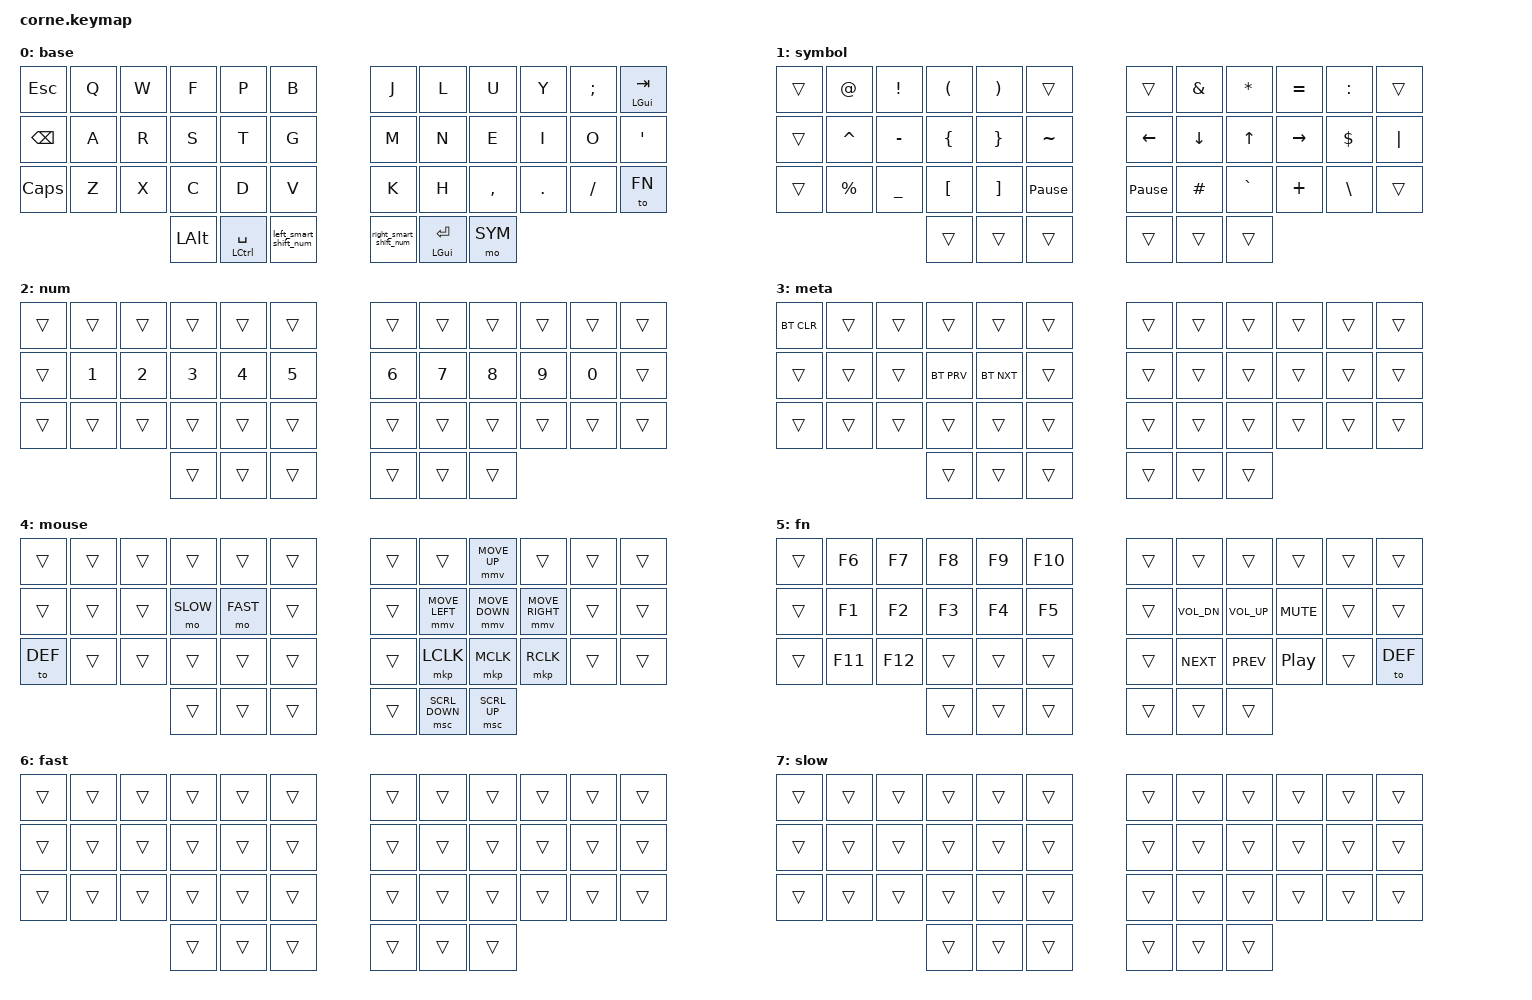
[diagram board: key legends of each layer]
/*
 * Copyright (c) 2020 The ZMK Contributors
 *
 * SPDX-License-Identifier: MIT
 */

#define DEF 0
#define NUM 2
#define SYM 1
#define META 3
#define MOUSE 4
#define FN 5
#define FAST 6
#define SLOW 7

#include "zmk-helpers/key-labels/42.h"
#include <behaviors.dtsi>
#include <dt-bindings/zmk/bt.h>
#include <dt-bindings/zmk/keys.h>
#include "zmk-helpers/helper.h"
#include "mouse.dtsi"
#include "combos.dtsi"

// TODO: 
// 1. Improve feel of the smart mouse
// 2. Fix the timing issues with the combos;
//    there aren't any false positives, 
//    but actually false negatives 
// 3. Find a more elegant way to do the mouse speed 
//    modifiers that doesn't require two empty layers?



&sk {  // sticky-key config
    release-after-ms = <900>;  // release after 0.9s
    quick-release;             // no double capitalization when rolling keys
};

// Smart Shift & Num Layer (explanation)
// There's a left and right shift key
// Hold one: SHIFT
// Tap one: Sticky SHIFT
// Double tap same one: CAPS WORD
// Hold BOTH: NUM layer
ZMK_MOD_MORPH(left_smart_shift_num,
    bindings = <&left_smart_shft>, <&mo NUM>;
    mods = <(MOD_RSFT)>;
)
ZMK_MOD_MORPH(right_smart_shift_num,
    bindings = <&right_smart_shft>, <&mo NUM>;
    mods = <(MOD_LSFT)>;
)
ZMK_MOD_MORPH(left_smart_shft,
    bindings = <&sk LSHFT>, <&caps_word>;
    mods = <(MOD_LSFT)>;
)
ZMK_MOD_MORPH(right_smart_shft,
    bindings = <&sk RSHFT>, <&caps_word>;
    mods = <(MOD_RSFT)>;
)
// ZMK_BEHAVIOR(long_sk, sticky_key,
//     bindings = <&kp>;
//     quick-release;
//     release-after-ms = <2000>;
// )
ZMK_HOLD_TAP(ht_sk,
    flavor = "hold-preferred";
    bindings = <&kp>, <&lsk>;
    tapping-term-ms = <200>;
)
ZMK_HOLD_TAP(ht_kp,
    flavor = "hold-preferred";
    bindings = <&kp>, <&kp>;
    tapping-term-ms = <200>;
)



ZMK_MOD_MORPH(smart_mod,
bindings = <&ht_sk LALT LGUI>, <&kp LGUI>;
mods = <(MOD_LSFT)>;
)

// deprecrstated, unused
ZMK_TAP_DANCE(alt_mod,
bindings = <&ht_sk LALT LGUI>, <&kp LGUI>;
)

// TODO: Will setting the second bind to &tog MOUSE let 
// smart_mouse be a toggle while retaining the smart behavior too?
ZMK_TRI_STATE(
    smart_mouse, bindings = <&tog MOUSE>, <&tog MOUSE>, <&tog MOUSE>;
    ignored-key-positions =
        <RM1 RM2 RM3 RT2 RB1 RB2 RB3 RH1 RH2 LM1 LM2>;
    ignored-layers = <MOUSE FAST SLOW>;)

ZMK_HOLD_TAP(ht_mo,
    flavor = "hold-preferred";
    tapping-term-ms = <200>;
    /* quick-tap-ms = <200>; */
    /* require-prior-idle-ms = <125>; */
    bindings = <&mo>, <&kp>;
)
ZMK_HOLD_TAP(ht_tog,
    flavor = "hold-preferred";
    tapping-term-ms = <200>;
    bindings = <&kp>, <&tog>;
)
&caps_word {  // mods deactivate caps-word, requires PR #1451
    /delete-property/ ignore-modifiers;
    /delete-property/ ignore-numbers;
    continue-list = <UNDERSCORE MINUS BACKSPACE DELETE>;
};


/ {
  behaviors {
  rpi: require_prior_idle {
      compatible = "zmk,behavior-hold-tap";
      #binding-cells = <2>;
      flavor = "tap-preferred";
      tapping-term-ms = <200>;
      quick-tap-ms = <200>;
      require-prior-idle-ms = <125>;
      bindings = <&kp>, <&kp>;
  };
    lsk: long_sticky_key {
        compatible = "zmk,behavior-sticky-key";
        #binding-cells = <1>;
        bindings = <&kp>;
        release-after-ms = <2000>;
        ignore-modifiers;
        quick-release;
    };
  };
    conditional_layers {
      compatible = "zmk,conditional-layers";
      meta_layer {
          if-layers = <1 2>;
          then-layer = <3>;
      };
  };
    macros {
        dbl: double {
            compatible = "zmk,behavior-macro";
            #binding-cells = <0>;
            bindings = <&kp ESC &kp K_CANCEL>;
        };
    };
    keymap {
        compatible = "zmk,keymap";

        default_layer {
            display-name = "base";
            bindings = <

&kp ESC                  &kp Q                     &kp W             &kp F              &kp P                     &kp B             &kp J         &kp L              &kp U       &kp Y     &kp SEMICOLON   &rpi LGUI TAB
&kp BSPC                 &kp A                     &kp R             &kp S              &kp T                     &kp G             &kp M         &kp N              &kp E       &kp I     &kp O           &kp SQT
&kp CAPS                 &kp Z                     &kp X             &kp C              &kp D                     &kp V             &kp K         &kp H              &kp COMMA   &kp DOT   &kp FSLH        &to FN
                                        &kp LALT         &rpi LEFT_CONTROL SPACE   &left_smart_shift_num       &right_smart_shift_num        &rpi LGUI ENTER           &mo SYM
            >;
        };

        symbol {
            display-name = "symbol";
            bindings = <

&trans   &kp AT        &kp EXCL    &kp LEFT_PARENTHESIS   &kp RIGHT_PARENTHESIS   &trans                   &trans               &kp AMPS     &kp STAR    &kp EQUAL    &kp COLON     &trans
&trans   &kp CARET     &kp MINUS   &kp LEFT_BRACE         &kp RIGHT_BRACE         &kp TILDE                &kp LEFT             &kp DOWN     &kp UP      &kp RIGHT    &kp DOLLAR    &kp PIPE
&trans   &kp PERCENT   &kp UNDER   &kp LEFT_BRACKET       &kp RIGHT_BRACKET       &kp PAUSE_BREAK          &kp PAUSE_BREAK      &kp HASH     &kp GRAVE   &kp PLUS     &kp BSLH      &trans
                                   &trans                 &trans                  &trans          &trans      &trans       &trans
            >;
        };
        num {
            display-name = "num";
            bindings = <

&trans   &trans   &trans   &trans   &trans   &trans       &trans     &trans     &trans   &trans      &trans   &trans
&trans   &kp N1   &kp N2   &kp N3   &kp N4   &kp N5       &kp N6     &kp N7     &kp N8   &kp N9      &kp N0   &trans
&trans   &trans   &trans   &trans   &trans   &trans       &trans     &trans     &trans   &trans      &trans   &trans
                         &trans   &trans   &trans       &trans     &trans     &trans
            >;
        };
        meta_layer {
            display-name = "meta";
            bindings = <

&bt BT_CLR   &trans   &trans   &trans       &trans       &trans       &trans   &trans   &trans   &trans   &trans   &trans
&trans       &trans   &trans   &bt BT_PRV   &bt BT_NXT   &trans       &trans   &trans   &trans   &trans   &trans   &trans
&trans       &trans   &trans   &trans       &trans       &trans       &trans   &trans   &trans   &trans   &trans   &trans
                             &trans       &trans       &trans       &trans   &trans   &trans
            >;
        };
        mouse_layer {
            display-name = "mouse";
            bindings = <

&trans    &trans   &trans   &trans     &trans     &trans       &trans   &trans           &mmv MOVE_UP     &trans            &trans   &trans
&trans    &trans   &trans   &mo SLOW   &mo FAST   &trans       &trans   &mmv MOVE_LEFT   &mmv MOVE_DOWN   &mmv MOVE_RIGHT   &trans   &trans
&to DEF   &trans   &trans   &trans     &trans     &trans       &trans   &mkp LCLK        &mkp MCLK        &mkp RCLK         &trans   &trans
                          &trans     &trans     &trans       &trans   &msc SCRL_DOWN   &msc SCRL_UP
            >;
        };
        fn_layer {
            display-name = "fn";
            bindings = <

  &trans   &kp F6    &kp F7    &kp F8   &kp F9   &kp F10       &trans   &trans         &trans         &trans       &trans   &trans
  &trans   &kp F1    &kp F2    &kp F3   &kp F4   &kp F5        &trans   &kp C_VOL_DN   &kp C_VOL_UP   &kp C_MUTE   &trans   &trans
  &trans   &kp F11   &kp F12   &trans   &trans   &trans        &trans   &kp C_NEXT     &kp C_PREV     &kp C_PP     &trans   &to DEF
                               &trans   &trans   &trans        &trans   &trans         &trans
            >;
        };
        fast_layer {
            display-name = "fast";
            bindings = <

  &trans   &trans   &trans   &trans   &trans   &trans       &trans   &trans   &trans   &trans   &trans   &trans
  &trans   &trans   &trans   &trans   &trans   &trans       &trans   &trans   &trans   &trans   &trans   &trans
  &trans   &trans   &trans   &trans   &trans   &trans       &trans   &trans   &trans   &trans   &trans   &trans
                             &trans   &trans   &trans       &trans   &trans   &trans
            >;
        };
        slow_layer {
            display-name = "slow";
            bindings = <

  &trans   &trans   &trans   &trans   &trans   &trans       &trans   &trans   &trans   &trans   &trans   &trans
  &trans   &trans   &trans   &trans   &trans   &trans       &trans   &trans   &trans   &trans   &trans   &trans
  &trans   &trans   &trans   &trans   &trans   &trans       &trans   &trans   &trans   &trans   &trans   &trans
                             &trans   &trans   &trans       &trans   &trans   &trans
            >;
        };
    };
};
